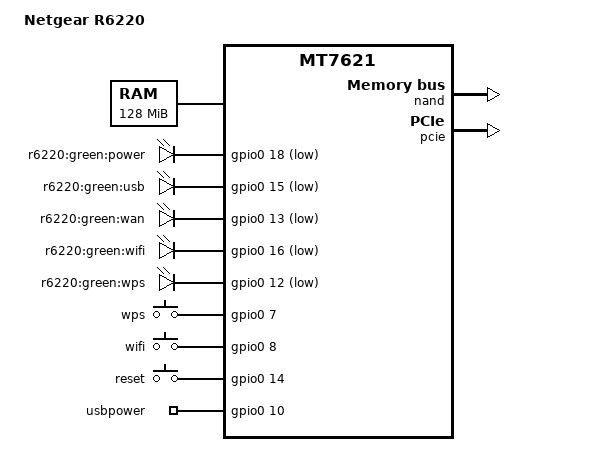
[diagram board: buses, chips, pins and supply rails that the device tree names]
/dts-v1/;

#include "mt7621.dtsi"

#include <dt-bindings/gpio/gpio.h>
#include <dt-bindings/input/input.h>

/ {
	compatible = "netgear,r6220", "mediatek,mt7621-soc";
	model = "Netgear R6220";

	memory@0 {
		device_type = "memory";
		reg = <0x0 0x8000000>;
	};

	chosen {
		bootargs = "console=ttyS0,57600";
	};

	gpio-leds {
		compatible = "gpio-leds";

		power {
			label = "r6220:green:power";
			gpios = <&gpio0 18 GPIO_ACTIVE_LOW>;
		};

		usb {
			label = "r6220:green:usb";
			gpios = <&gpio0 15 GPIO_ACTIVE_LOW>;
		};

		internet {
			label = "r6220:green:wan";
			gpios = <&gpio0 13 GPIO_ACTIVE_LOW>;
		};

		wifi {
			label = "r6220:green:wifi";
			gpios = <&gpio0 16 GPIO_ACTIVE_LOW>;
		};

		wps {
			label = "r6220:green:wps";
			gpios = <&gpio0 12 GPIO_ACTIVE_LOW>;
		};
	};

	gpio-keys-polled {
		compatible = "gpio-keys-polled";
		#address-cells = <1>;
		#size-cells = <0>;
		poll-interval = <20>;

		wps {
			label = "wps";
			gpios = <&gpio0 7 GPIO_ACTIVE_HIGH>;
			linux,code = <KEY_WPS_BUTTON>;
		};

		wifi {
			label = "wifi";
			gpios = <&gpio0 8 GPIO_ACTIVE_HIGH>;
			linux,code = <KEY_RFKILL>;
		};

		reset {
			label = "reset";
			gpios = <&gpio0 14 GPIO_ACTIVE_HIGH>;
			linux,code = <KEY_RESTART>;
		};
	};

	gpio_export {
		compatible = "gpio-export";
		#size-cells = <0>;

		usbpower {
			gpio-export,name = "usbpower";
			gpio-export,output = <1>;
			gpios = <&gpio0 10 GPIO_ACTIVE_HIGH>;
		};
	};
};

&nand {
	status = "okay";

	partition@0 {
		label = "u-boot";
		reg = <0x0 0x100000>;
		read-only;
	};

	partition@100000 {
		label = "SC PID";
		reg = <0x100000 0x100000>;
		read-only;
	};

	partition@200000 {
		label = "kernel";
		reg = <0x200000 0x400000>;
	};

	partition@600000 {
		label = "ubi";
		reg = <0x600000 0x1c00000>;
	};

	factory: partition@2e00000 {
		label = "factory";
		reg = <0x2e00000 0x100000>;
		read-only;
	};

	partition@4200000 {
		label = "reserved";
		reg = <0x4200000 0x3c00000>;
		read-only;
	};
};

&pcie {
	status = "okay";

	pcie0 {
		mt76@0,0 {
			reg = <0x0000 0 0 0 0>;
			device_type = "pci";
			mediatek,mtd-eeprom = <&factory 0x8000>;
			ieee80211-freq-limit = <5000000 6000000>;
		};
	};

	pcie1 {
		mt76@1,0 {
			reg = <0x0000 0 0 0 0>;
			device_type = "pci";
			mediatek,mtd-eeprom = <&factory 0x0000>;
			ieee80211-freq-limit = <2400000 2500000>;
		};
	};
};

&ethernet {
	mtd-mac-address = <&factory 0x00000004>;
};

&pinctrl {
	state_default: pinctrl0 {
		gpio {
			ralink,group = "uart3", "jtag";
			ralink,function = "gpio";
		};
	};
};
